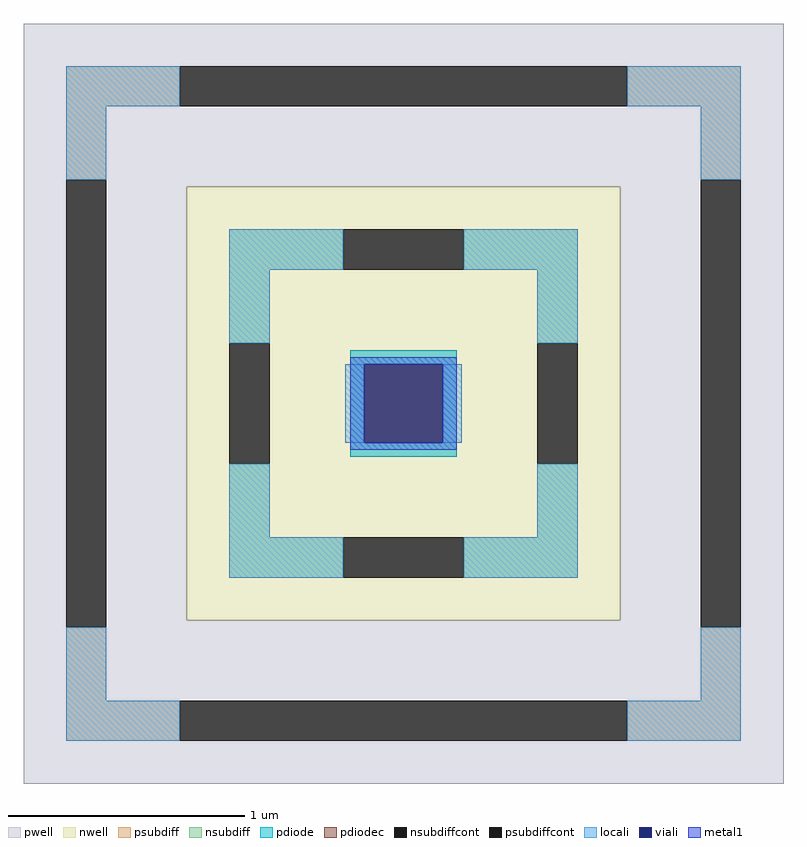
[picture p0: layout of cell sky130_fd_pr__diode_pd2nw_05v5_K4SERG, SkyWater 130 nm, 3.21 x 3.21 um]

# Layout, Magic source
magic
tech sky130A
magscale 1 2
<< nwell >>
rect -183 -183 183 183
<< pwell >>
rect -321 183 321 321
rect -321 -183 -183 183
rect 183 -183 321 183
rect -321 -321 321 -183
<< psubdiff >>
rect -285 251 -189 285
rect 189 251 285 285
rect -285 189 -251 251
rect 251 189 285 251
rect -285 -251 -251 -189
rect 251 -251 285 -189
rect -285 -285 -189 -251
rect 189 -285 285 -251
<< nsubdiff >>
rect -147 113 -51 147
rect 51 113 147 147
rect -147 51 -113 113
rect 113 51 147 113
rect -147 -113 -113 -51
rect 113 -113 147 -51
rect -147 -147 -51 -113
rect 51 -147 147 -113
<< psubdiffcont >>
rect -189 251 189 285
rect -285 -189 -251 189
rect 251 -189 285 189
rect -189 -285 189 -251
<< nsubdiffcont >>
rect -51 113 51 147
rect -147 -51 -113 51
rect 113 -51 147 51
rect -51 -147 51 -113
<< pdiode >>
rect -45 33 45 45
rect -45 -33 -33 33
rect 33 -33 45 33
rect -45 -45 45 -33
<< pdiodec >>
rect -33 -33 33 33
<< locali >>
rect -285 251 -189 285
rect 189 251 285 285
rect -285 189 -251 251
rect 251 189 285 251
rect -147 113 -51 147
rect 51 113 147 147
rect -147 51 -113 113
rect 113 51 147 113
rect -49 -33 -33 33
rect 33 -33 49 33
rect -147 -113 -113 -51
rect 113 -113 147 -51
rect -147 -147 -51 -113
rect 51 -147 147 -113
rect -285 -251 -251 -189
rect 251 -251 285 -189
rect -285 -285 -189 -251
rect 189 -285 285 -251
<< viali >>
rect -33 -33 33 33
<< metal1 >>
rect -45 33 45 39
rect -45 -33 -33 33
rect 33 -33 45 33
rect -45 -39 45 -33
<< properties >>
string FIXED_BBOX -130 -130 130 130
string gencell sky130_fd_pr__diode_pd2nw_05v5
string library sky130
string parameters w 0.45 l 0.45 area 202.5m peri 1.8 nx 1 ny 1 dummy 0 lmin 0.45 wmin 0.45 elc 1 erc 1 etc 1 ebc 1 glc 1 grc 1 gtc 1 gbc 1 doverlap 0 compatible {sky130_fd_pr__diode_pd2nw_05v5 sky130_fd_pr__diode_pd2nw_05v5_lvt  sky130_fd_pr__diode_pd2nw_05v5_hvt sky130_fd_pr__diode_pd2nw_11v0} full_metal 1 vias 1 viagb 0 viagt 0 viagl 0 viagr 0
<< end >>
